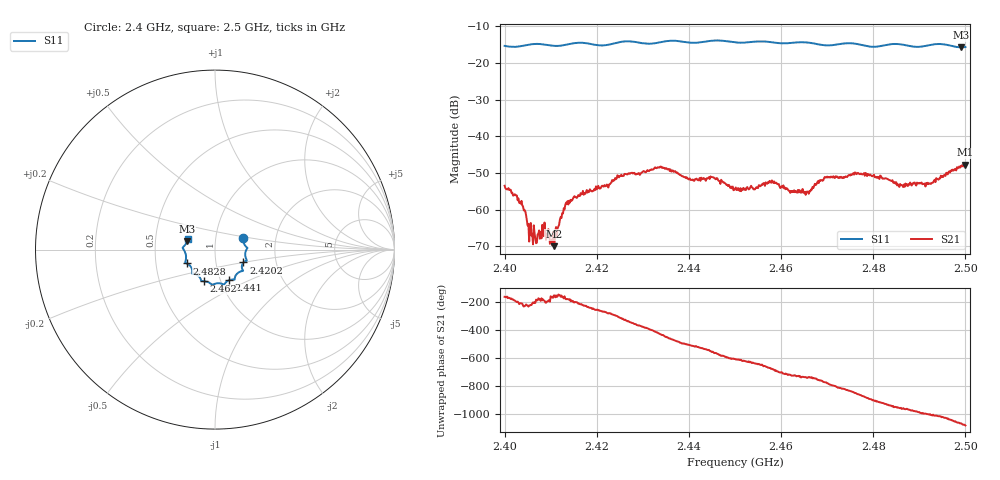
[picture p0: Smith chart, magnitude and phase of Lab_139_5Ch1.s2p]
# Hz S RI R 50
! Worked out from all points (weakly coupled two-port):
!   601 points, 2.4 GHz to 2.5 GHz, reference 50 ohm
!   highest |S21| = -47.77 dB at 2.5 GHz (marker M1); lowest = -70.0 dB at 2.4107 GHz (marker M2)
!   lowest |S11| = -15.8 dB at 2.499 GHz (marker M3), VSWR 1.39, Z = 36.4 + j3.48 ohm
!   |S11| at or under -10 dB: start of sweep to end of sweep
!   S12 and S22 are empty: the file has one direction only
!   S11 on the Smith chart (normalised r, x): 2.4 GHz: 1.36, +0.18; 2.4202 GHz: 1.36, -0.20; 2.441 GHz: 1.10, -0.39; 2.462 GHz: 0.84, -0.30; 2.4828 GHz: 0.72, -0.11; 2.5 GHz: 0.73, +0.09
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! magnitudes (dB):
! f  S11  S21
! 2.4 GHz  -15.4  -53.5
! 2.4035 GHz  -15.5  -58.4
! 2.4057 GHz  -15.0  -63.6
! 2.4065 GHz  -14.9  -66.5
! 2.4083 GHz  -15.0  -65.3
! 2.4107 GHz  -15.4  -70.0
! 2.4133 GHz  -15.1  -58.1
! 2.4167 GHz  -14.5  -55.8
! 2.4202 GHz  -15.2  -54.2
! 2.4333 GHz  -14.5  -48.5
! 2.441 GHz  -14.6  -52.1
! 2.4452 GHz  -14.0  -51.2
! 2.45 GHz  -14.4  -54.3
! 2.458 GHz  -14.4  -52.0
! 2.462 GHz  -14.6  -55.4
! 2.4667 GHz  -14.6  -54.6
! 2.47 GHz  -15.3  -51.0
! 2.4828 GHz  -15.1  -51.5
! 2.4833 GHz  -15.0  -51.8
! 2.4918 GHz  -15.3  -52.7
! 2.499 GHz  -15.8  -48.1
! 2.5 GHz  -15.7  -47.8
